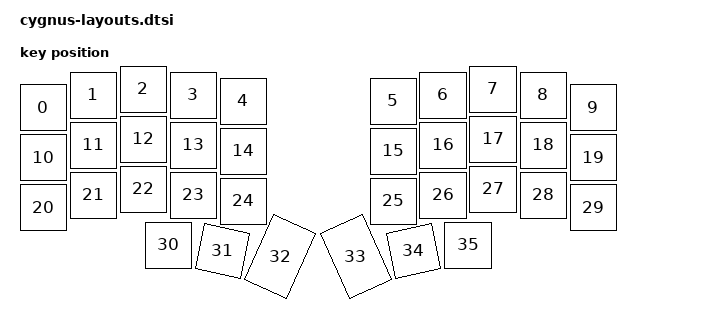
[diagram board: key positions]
#include <physical_layouts.dtsi>

/ {
    physical_layout_cygnus: physical_layout_cygnus {
        compatible = "zmk,physical-layout";
        display-name = "cygnus";
        keys  //                     w   h    x    y     rot    rx    ry
            = <&key_physical_attrs 100 100    0   37       0     0    37>
            , <&key_physical_attrs 100 100  100   12       0   100    12>
            , <&key_physical_attrs 100 100  200    0       0   200     0>
            , <&key_physical_attrs 100 100  300   12       0   300    12>
            , <&key_physical_attrs 100 100  400   24       0   400    24>
            , <&key_physical_attrs 100 100  700   24       0   700    24>
            , <&key_physical_attrs 100 100  800   12       0   800    12>
            , <&key_physical_attrs 100 100  900    0       0   900     0>
            , <&key_physical_attrs 100 100 1000   12       0  1000    12>
            , <&key_physical_attrs 100 100 1100   37       0  1100    37>
            , <&key_physical_attrs 100 100    0  137       0     0   137>
            , <&key_physical_attrs 100 100  100  112       0   100   112>
            , <&key_physical_attrs 100 100  200  100       0   200   100>
            , <&key_physical_attrs 100 100  300  112       0   300   112>
            , <&key_physical_attrs 100 100  400  124       0   400   124>
            , <&key_physical_attrs 100 100  700  124       0   700   124>
            , <&key_physical_attrs 100 100  800  112       0   800   112>
            , <&key_physical_attrs 100 100  900  100       0   900   100>
            , <&key_physical_attrs 100 100 1000  112       0  1000   112>
            , <&key_physical_attrs 100 100 1100  137       0  1100   137>
            , <&key_physical_attrs 100 100    0  237       0     0   237>
            , <&key_physical_attrs 100 100  100  212       0   100   212>
            , <&key_physical_attrs 100 100  200  200       0   200   200>
            , <&key_physical_attrs 100 100  300  212       0   300   212>
            , <&key_physical_attrs 100 100  400  224       0   400   224>
            , <&key_physical_attrs 100 100  700  224       0   700   224>
            , <&key_physical_attrs 100 100  800  212       0   800   212>
            , <&key_physical_attrs 100 100  900  200       0   900   200>
            , <&key_physical_attrs 100 100 1000  212       0  1000   212>
            , <&key_physical_attrs 100 100 1100  237       0  1100   237>
            , <&key_physical_attrs 100 100  250  312       0   250   312>
            , <&key_physical_attrs 100 100  350  312    1200   350   412>
            , <&key_physical_attrs 100 150  448  283    2400   448   433>
            , <&key_physical_attrs 100 150  652  283 (-2400)   752   433>
            , <&key_physical_attrs 100 100  750  312 (-1200)   850   412>
            , <&key_physical_attrs 100 100  850  312       0   850   312>
            ;
    };
};
